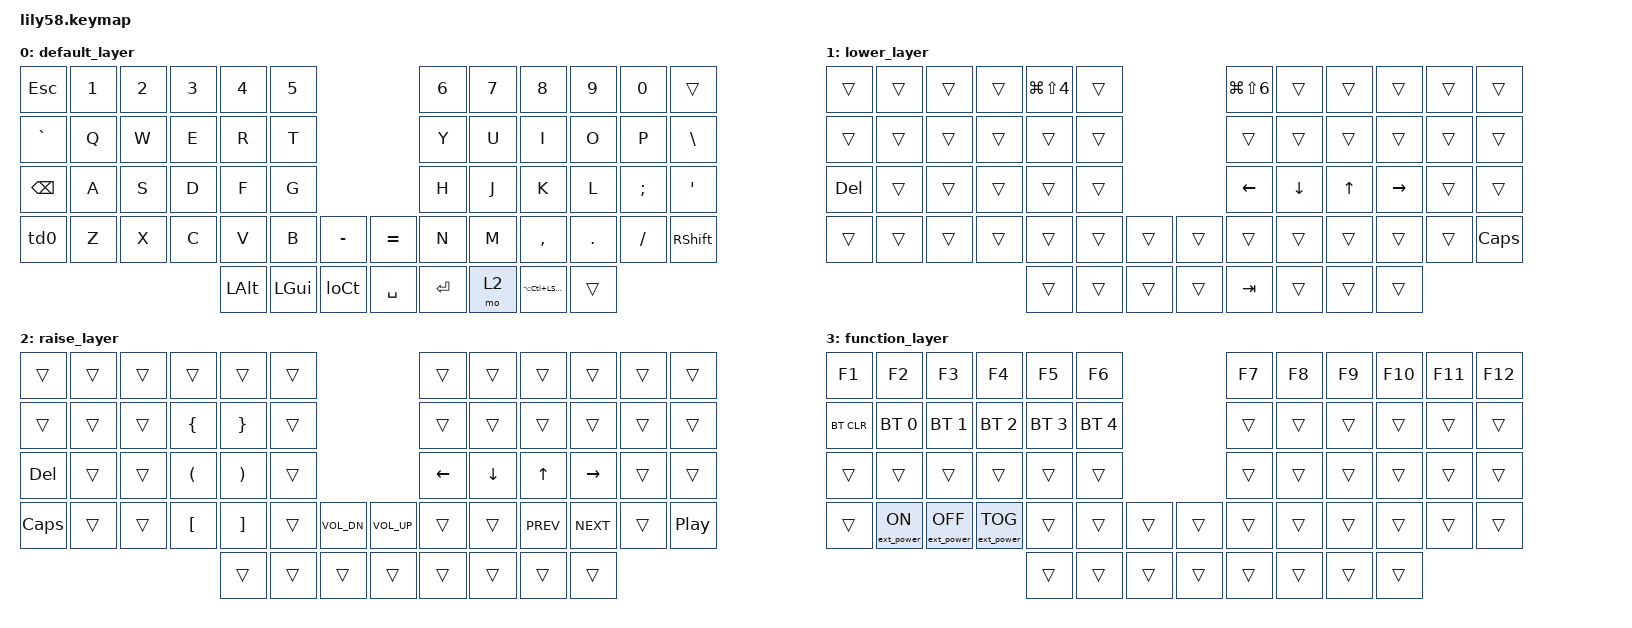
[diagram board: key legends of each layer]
/*
 * Copyright (c) 2020 The ZMK Contributors
 *
 * SPDX-License-Identifier: MIT
 */

#include <behaviors.dtsi>
#include <dt-bindings/zmk/keys.h>
#include <dt-bindings/zmk/bt.h>
#include <dt-bindings/zmk/ext_power.h>

&caps_word {
    continue-list = <UNDERSCORE MINUS>;
};

/ {
    behaviors {
        td0: tap_dance_shift_caps {
            compatible = "zmk,behavior-tap-dance";
            label = "TAP_DANCE_0";
            #binding-cells = <0>;
            tapping-term-ms = <250>;
            bindings = <&kp LSHFT>, <&caps_word>;
        };

        loCt: lower_left_control {
            compatible = "zmk,behavior-tap-dance";
            label = "LOWER_CTRL";
            #binding-cells = <0>;
            tapping-term-ms = <250>;
            bindings = <&mo 1>, <&kp LCTRL>;

        };
    };

    keymap {
        compatible = "zmk,keymap";

        default_layer {
// ------------------------------------------------------------------------------------------------------------
// |  ESC  |  1  |  2  |  3   |  4   |  5   |                   |  6   |  7    |  8    |  9   |   0   |   `   |
// |  TAB  |  Q  |  W  |  E   |  R   |  T   |                   |  Y   |  U    |  I    |  O   |   P   |   -   |
// |  CTRL |  A  |  S  |  D   |  F   |  G   |                   |  H   |  J    |  K    |  L   |   ;   |   '   |
// | SHIFT |  Z  |  X  |  C   |  V   |  B   |        |  |       |  N   |  M    |  ,    |  .   |   /   | SHIFT |
//                     | ALT  | GUI  | LOWER|  SPACE |  | ENTER | RAISE| BSPC  | GUI   |
            bindings = <
&kp ESC     &kp N1 &kp N2 &kp N3   &kp N4   &kp N5                       &kp N6 &kp N7   &kp N8    &kp N9  &kp N0   &trans
&kp GRAVE   &kp Q  &kp W  &kp E    &kp R    &kp T                        &kp Y  &kp U    &kp I     &kp O   &kp P    &kp BSLH
&kp BSPC    &kp A  &kp S  &kp D    &kp F    &kp G                        &kp H  &kp J    &kp K     &kp L   &kp SEMI &kp SQT
&td0        &kp Z  &kp X  &kp C    &kp V    &kp B  &kp MINUS  &kp EQUAL   &kp N  &kp M    &kp COMMA &kp DOT &kp FSLH &kp RSHFT
                        &kp LALT &kp LGUI &loCt    &kp SPACE  &kp RET    &mo 2  &kp LA(LC(LSHFT)) &trans
            >;
        };

        lower_layer {
            bindings = <
&trans   &trans  &trans   &trans   &kp LG(LS(N4)) &trans                   &kp LG(LS(N6)) &trans    &trans    &trans    &trans  &trans
&trans   &trans  &trans   &trans   &trans         &trans                   &trans         &trans    &trans    &trans    &trans  &trans
&kp DEL  &trans  &trans   &trans   &trans         &trans                   &kp LEFT       &kp DOWN  &kp UP    &kp RIGHT &trans  &trans
&trans   &trans  &trans   &trans   &trans         &trans  &trans   &trans  &trans         &trans    &trans    &trans    &trans  &kp CAPS
                               &trans   &trans    &trans  &trans   &kp TAB &trans         &trans    &trans
            >;
        };

        raise_layer {
            bindings = <
&trans    &trans  &trans   &trans   &trans     &trans                              &trans    &trans    &trans     &trans     &trans  &trans
&trans    &trans  &trans   &kp LBRC &kp RBRC   &trans                              &trans    &trans    &trans     &trans     &trans  &trans
&kp DEL   &trans  &trans   &kp LPAR &kp RPAR   &trans                              &kp LEFT  &kp DOWN  &kp UP     &kp RIGHT  &trans  &trans
&kp CAPS  &trans  &trans   &kp LBKT &kp RBKT   &trans  &kp C_VOL_DN  &kp C_VOL_UP  &trans    &trans    &kp C_PREV &kp C_NEXT &trans  &kp C_PP
                               &trans   &trans &trans  &trans        &trans        &trans    &trans    &trans
            >;
        };

        // function_layer {
        //     bindings = <>;
        // };
        function_layer {
// ------------------------------------------------------------------------------------------------------------
// |  F1   |  F2 |  F3 |  F4  |  F5  |  F6  |                   |  F7  |  F8   |  F9   |  F10 |  F11  |  F12  |
// | BTCLR | BT1 | BT2 |  BT3 |  BT4 |  BT5 |                   |      |       |       |      |       |       |
// |       |     |     |      |      |      |                   |      |       |       |      |       |       |
// |       |     |     |      |      |      |        |  |       |      |       |       |      |       |       |
//                     |      |      |      |        |  |       |      |       |       |
            bindings = <
&kp F1     &kp F2           &kp F3            &kp F4            &kp F5       &kp F6                       &kp F7    &kp F8    &kp F9   &kp F10   &kp F11   &kp F12
&bt BT_CLR &bt BT_SEL 0     &bt BT_SEL 1      &bt BT_SEL 2      &bt BT_SEL 3 &bt BT_SEL 4                 &trans    &trans    &trans   &trans    &trans    &trans
&trans     &trans           &trans            &trans            &trans       &trans                       &trans    &trans    &trans   &trans    &trans    &trans
&trans     &ext_power EP_ON &ext_power EP_OFF &ext_power EP_TOG &trans       &trans    &trans   &trans    &trans    &trans    &trans   &trans    &trans    &trans
                                              &trans            &trans       &trans    &trans   &trans    &trans    &trans    &trans
            >;
        };

// 		raise_layer {
// // ------------------------------------------------------------------------------------------------------------
// // |       |     |     |      |      |      |                   |      |       |       |      |       |       |
// // |   `   |  1  |  2  |  3   |  4   |  5   |                   |  6   |   7   |   8   |  9   |   0   |       |
// // |   F1  |  F2 |  F3 |  F4  |  F5  |  F6  |                   |      |   <-  |   v   |  ^   |  ->   |       |
// // |   F7  |  F8 |  F9 |  F10 |  F11 |  F12 |        |  |       |  +   |   -   |   =   |  [   |   ]   |   \   |
// //                     |      |      |      |        |  |       |      |       |       |
// 			bindings = <
// &trans    &trans &trans &trans  &trans  &trans                       &trans      &trans    &trans    &trans   &trans    &trans
// &kp GRAVE &kp N1 &kp N2 &kp N3  &kp N4  &kp N5                       &kp N6      &kp N7    &kp N8    &kp N9   &kp N0    &trans
// &kp F1    &kp F2 &kp F3 &kp F4  &kp F5  &kp F6                       &trans      &kp LEFT  &kp DOWN  &kp UP   &kp RIGHT &trans
// &kp F7    &kp F8 &kp F9 &kp F10 &kp F11 &kp F12   &trans   &trans    &kp KP_PLUS &kp MINUS &kp EQUAL &kp LBKT &kp RBKT  &kp BSLH
//                         &trans  &trans  &trans    &trans   &trans    &trans      &trans    &trans
// 			>;

// 			sensor-bindings = <&inc_dec_kp C_VOL_UP C_VOL_DN>;
// 		};
    };
};
